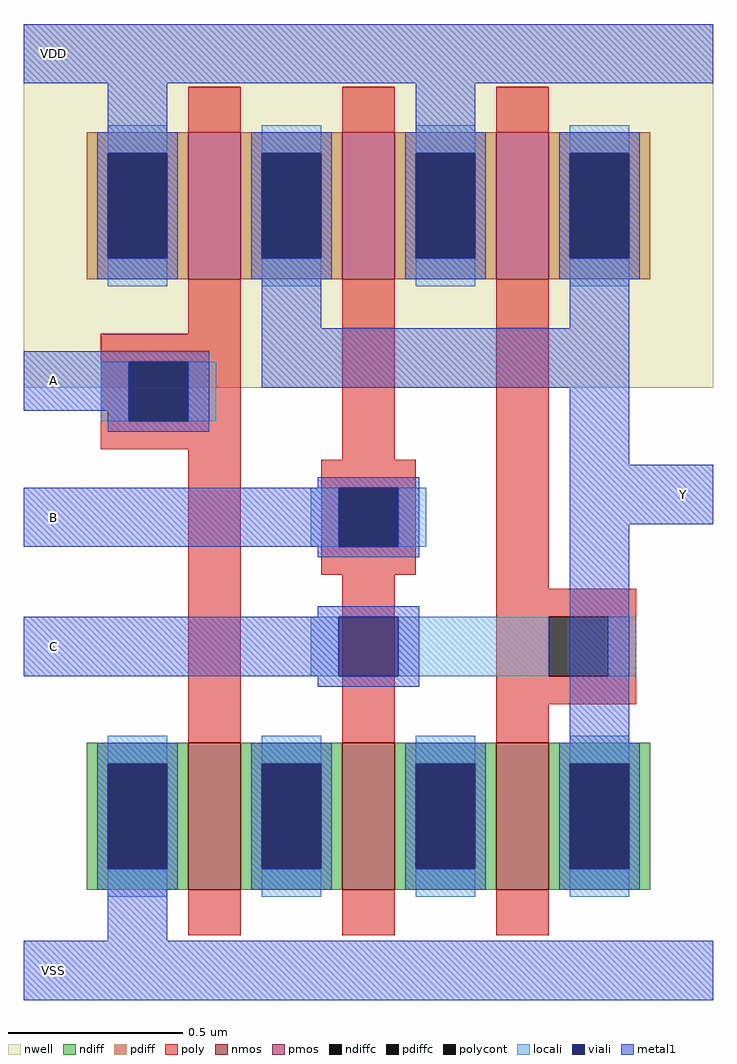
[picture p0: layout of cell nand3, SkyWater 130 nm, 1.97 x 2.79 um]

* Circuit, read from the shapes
.subckt nand3 A B C VDD VSS Y
XM1 n1 A VSS VSUBS sky130_fd_pr__nfet_01v8 w=0.42 l=0.15
XM2 n2 B n1 VSUBS sky130_fd_pr__nfet_01v8 w=0.42 l=0.15
XM3 Y C n2 VSUBS sky130_fd_pr__nfet_01v8 w=0.42 l=0.15
XM4 Y A VDD n3 sky130_fd_pr__pfet_01v8 w=0.42 l=0.15
XM5 VDD B Y n3 sky130_fd_pr__pfet_01v8 w=0.42 l=0.15
XM6 Y C VDD n3 sky130_fd_pr__pfet_01v8 w=0.42 l=0.15
.ends

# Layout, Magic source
magic
tech sky130A
magscale 1 2
<< poly >>
rect 94 472 124 477
rect 44 456 124 472
rect 44 422 60 456
rect 94 422 124 456
rect 44 406 124 422
rect 94 264 124 406
rect 182 400 212 477
rect 170 384 224 400
rect 170 350 180 384
rect 214 350 224 384
rect 170 334 224 350
rect 182 263 212 334
rect 270 326 300 477
rect 270 310 350 326
rect 270 276 300 310
rect 334 276 350 310
rect 270 264 350 276
rect 300 260 350 264
<< polycont >>
rect 60 422 94 456
rect 180 350 214 384
rect 300 276 334 310
<< locali >>
rect 44 422 60 456
rect 94 422 110 456
rect 164 350 180 384
rect 214 350 230 384
rect 164 276 180 310
rect 214 276 300 310
rect 334 276 350 310
<< viali >>
rect 60 422 94 456
rect 180 350 214 384
rect 180 276 214 310
<< metal1 >>
rect 0 615 394 649
rect 48 587 82 615
rect 224 587 258 615
rect 136 475 170 503
rect 312 475 346 503
rect 0 456 106 462
rect 0 428 60 456
rect 48 422 60 428
rect 94 422 106 456
rect 136 441 346 475
rect 48 416 106 422
rect 312 397 346 441
rect 168 384 226 390
rect 0 350 180 384
rect 214 350 226 384
rect 168 344 226 350
rect 312 363 394 397
rect 168 310 226 316
rect 0 276 180 310
rect 214 276 226 310
rect 168 270 226 276
rect 312 238 346 363
rect 48 125 82 154
rect 0 91 394 125
use sky130_fd_pr__nfet_01v8_A6LSUL  m1 ~/Desktop/FabRAM/FE/sram130/common
transform 1 0 109 0 1 196
box -73 -68 73 68
use sky130_fd_pr__nfet_01v8_A6LSUL  m2
transform 1 0 197 0 1 196
box -73 -68 73 68
use sky130_fd_pr__nfet_01v8_A6LSUL  m3
transform 1 0 285 0 1 196
box -73 -68 73 68
use sky130_fd_pr__pfet_01v8_4Y88KP  m4 ~/Desktop/FabRAM/FE/sram130/common
transform 1 0 109 0 1 545
box -109 -104 109 104
use sky130_fd_pr__pfet_01v8_4Y88KP  m5
transform -1 0 197 0 1 545
box -109 -104 109 104
use sky130_fd_pr__pfet_01v8_4Y88KP  m6
transform 1 0 285 0 1 545
box -109 -104 109 104
<< labels >>
rlabel metal1 0 615 34 649 0 VDD
rlabel metal1 0 91 34 125 0 VSS
rlabel metal1 360 363 394 397 0 Y
rlabel metal1 0 350 34 384 0 B
rlabel metal1 0 276 34 310 0 C
rlabel metal1 0 428 34 462 0 A
<< end >>

# cell sky130_fd_pr__nfet_01v8_A6LSUL: kit device sky130_fd_pr__nfet_01v8, w 0.420 l 0.150 m 1 nf 1 diffcov 100 polycov 100 guard 0 glc 0 grc 0 gtc 0 gbc 0 tbcov 100 rlcov 100 topc 0 botc 0 poverlap 0 doverlap 0 lmin 0.15 wmin 0.42 compatible {sky130_fd_pr__nfet_01v8 sky130_fd_pr__nfet_01v8_lvt sky130_fd_bs_flash__special_sonosfet_star sky130_fd_pr__nfet_g5v0d10v5 sky130_fd_pr__nfet_05v0_nvt sky130_fd_pr__nfet_03v3_nvt} full_metal 0 viasrc 100 viadrn 100 viagate 100 viagb 0 viagr 0 viagl 0 viagt 0

# cell sky130_fd_pr__pfet_01v8_4Y88KP: kit device sky130_fd_pr__pfet_01v8, w 0.42 l 0.15 m 1 nf 1 diffcov 100 polycov 100 guard 0 glc 0 grc 0 gtc 0 gbc 0 tbcov 100 rlcov 100 topc 0 botc 0 poverlap 0 doverlap 0 lmin 0.15 wmin 0.42 compatible {sky130_fd_pr__pfet_01v8 sky130_fd_pr__pfet_01v8_lvt sky130_fd_pr__pfet_01v8_hvt sky130_fd_pr__pfet_g5v0d10v5} full_metal 0 viasrc 100 viadrn 100 viagate 100 viagb 0 viagr 0 viagl 0 viagt 0
